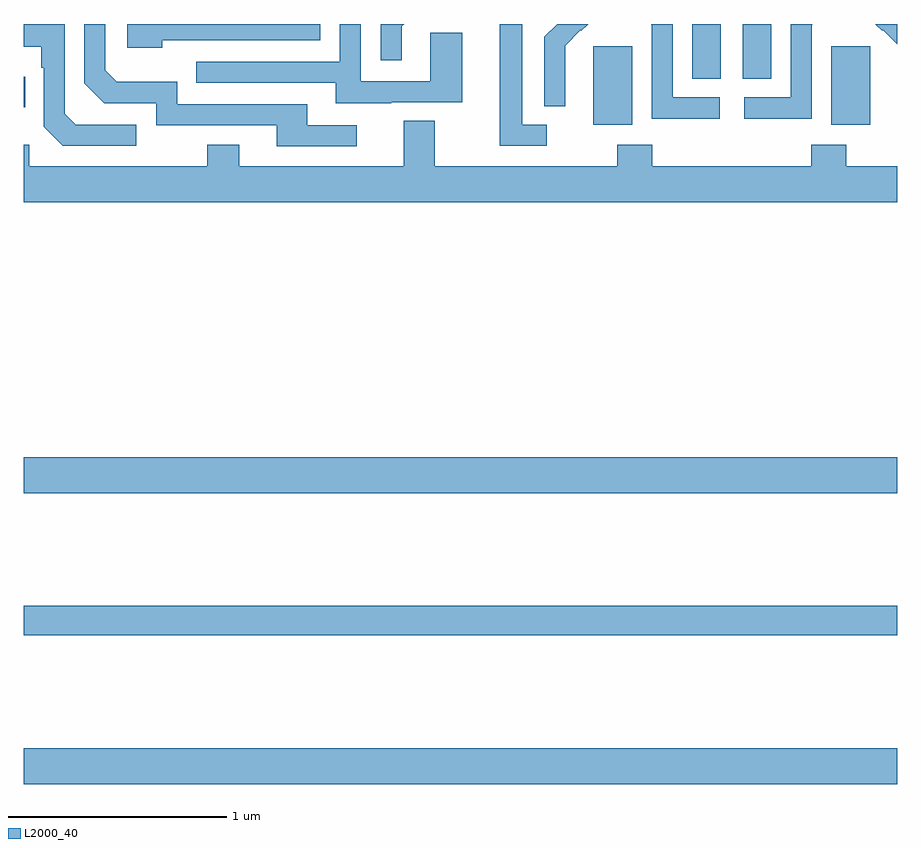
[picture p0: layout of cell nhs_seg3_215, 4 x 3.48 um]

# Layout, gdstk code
import gdstk
lib = gdstk.Library(unit=1e-6, precision=1e-09)
def R(c, l, rs):  # rectangles x0, y0, x1, y1
    for r in rs: c.add(gdstk.rectangle(r[:2], r[2:], *l))
def P(c, l, *ps):  # polygons
    for p in ps: c.add(gdstk.Polygon(p, *l))
L2000_40 = (2000, 40)

nhs_seg3_215 = lib.new_cell('nhs_seg3_215')
R(nhs_seg3_215, L2000_40, [(121,696.92,125,697.084), (121,697.6,125,697.736), (121,698.252,125,698.416), (123.608,699.938,123.787,700.299), (124.697,699.938,124.876,700.299), (121,700.019,121.007,700.159), (124.061,700.15,124.192,700.4), (124.292,700.15,124.423,700.4)])
P(nhs_seg3_215, L2000_40, [(122.683,700.041),(123.007,700.041),(123.007,700.361),(122.862,700.361),(122.862,700.137),(122.544,700.137),(122.544,700.4),(122.448,700.4),(122.448,700.227),(121.789,700.227),(121.789,700.131),(122.429,700.131),(122.429,700.037),(122.683,700.037)],
  [(123.394,699.939),(123.283,699.939),(123.283,700.4),(123.179,700.4),(123.179,699.843),(123.394,699.843)],
  [(122.731,700.389),(122.742,700.4),(122.634,700.4),(122.634,700.233),(122.731,700.233)],
  [(124.186,700.065),(123.972,700.065),(123.972,700.4),(123.874,700.4),(123.874,700.396),(123.876,700.396),(123.876,699.967),(124.186,699.967)],
  [(123.48,700.178),(123.479,700.178),(123.479,700.301),(123.549,700.371),(123.552,700.368),(123.584,700.4),(123.442,700.4),(123.384,700.342),(123.384,700.024),(123.48,700.024)],
  [(121.634,700.326),(122.358,700.326),(122.358,700.4),(121.473,700.4),(121.473,700.292),(121.634,700.292)],
  [(122.524,699.936),(122.299,699.936),(122.299,700.032),(121.704,700.032),(121.704,700.135),(121.427,700.135),(121.374,700.188),(121.374,700.4),(121.278,700.4),(121.278,700.128),(121.368,700.038),(121.608,700.038),(121.608,699.936),(122.159,699.936),(122.159,699.84),(122.524,699.84)],
  [(121.516,699.939),(121.239,699.939),(121.188,699.99),(121.188,700.4),(121,700.4),(121,700.295),(121.08,700.295),(121.08,700.199),(121.092,700.199),(121.092,699.93),(121.179,699.843),(121.516,699.843)],
  [(124.608,700.396),(124.611,700.396),(124.611,700.4),(124.512,700.4),(124.512,700.065),(124.299,700.065),(124.299,699.967),(124.608,699.967)],
  [(125,700.4),(124.9,700.4),(124.932,700.368),(124.935,700.371),(125,700.307)],
  [(125,699.748),(124.767,699.748),(124.767,699.847),(124.607,699.847),(124.607,699.748),(123.878,699.748),(123.878,699.847),(123.718,699.847),(123.718,699.748),(122.881,699.748),(122.881,699.956),(122.741,699.956),(122.741,699.748),(121.987,699.748),(121.987,699.847),(121.84,699.847),(121.84,699.748),(121.026,699.748),(121.026,699.847),(121,699.847),(121,699.584),(125,699.584)])

lib.write_gds('nhs_seg3_215.gds')
